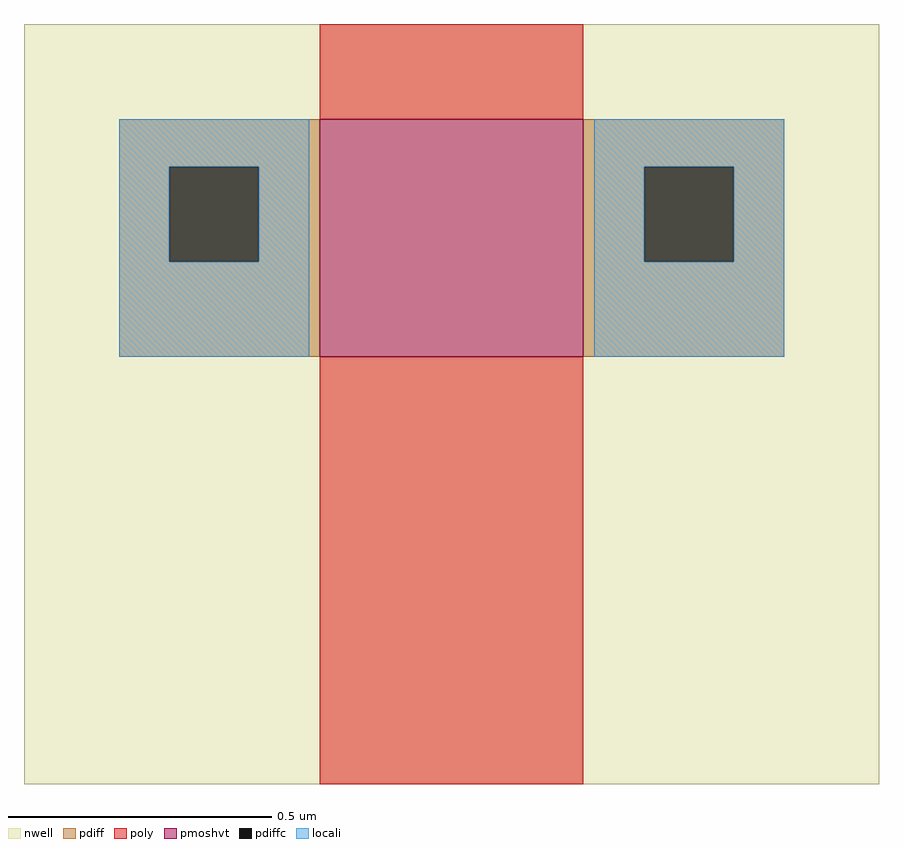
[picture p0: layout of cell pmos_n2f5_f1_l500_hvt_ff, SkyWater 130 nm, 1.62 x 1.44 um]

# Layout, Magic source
magic
tech sky130A
magscale 1 2
<< nwell >>
rect -72 -162 252 126
<< pmoshvt >>
rect 40 0 140 90
<< pdiff >>
rect -36 72 40 90
rect -36 36 -17 72
rect 17 36 40 72
rect -36 0 40 36
rect 140 72 216 90
rect 140 36 163 72
rect 197 36 216 72
rect 140 0 216 36
<< pdiffc >>
rect -17 36 17 72
rect 163 36 197 72
<< poly >>
rect 40 90 140 126
rect 40 -162 140 0
<< locali >>
rect -36 72 36 90
rect -36 36 -17 72
rect 17 36 36 72
rect -36 0 36 36
rect 144 72 216 90
rect 144 36 163 72
rect 197 36 216 72
rect 144 0 216 36
<< end >>
